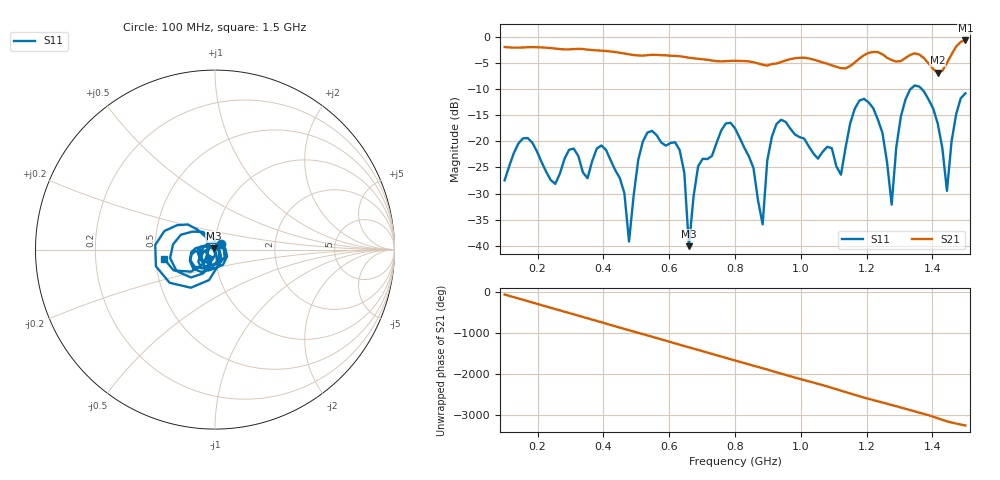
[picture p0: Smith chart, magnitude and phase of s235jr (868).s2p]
! NanoVNA-App
! Date: 2025-09-25 15:10:55
! Start: 100MHz Stop: 1,5GHz Points: 101
! S-Parameter data: F S11 S21 S12 S22
# Hz S RI R 50
!  Frequency  S11_Real  S11_Imag  S21_Real  S21_Imag  S12_Real  S12_Imag  S22_Real  S22_Imag
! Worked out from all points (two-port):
!   101 points, 100 MHz to 1.5 GHz, reference 50 ohm
!   highest |S21| = -0.71 dB at 1.5 GHz (marker M1); lowest = -6.9 dB at 1.416 GHz (marker M2)
!   |S21| within 3 dB of the highest: start of sweep to 627.2 MHz; 1.188 GHz to 1.256 GHz (67.58 MHz wide, 5.53 % of centre) (the widest 2 of 4)
!   lowest |S11| = -40.1 dB at 660 MHz (marker M3), VSWR 1.02, Z = 49.2 + j0.636 ohm
!   |S11| at or under -10 dB: start of sweep to 1.334 GHz; 1.367 GHz to end of sweep
!   S12 and S22 are empty: the file has one direction only
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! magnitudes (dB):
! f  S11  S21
! 100 MHz  -27.5  -2.0
! 156 MHz  -19.4  -2.1
! 338 MHz  -26.0  -2.3
! 408 MHz  -21.6  -2.7
! 478 MHz  -39.2  -3.4
! 520 MHz  -20.0  -3.6
! 576 MHz  -20.2  -3.5
! 632 MHz  -21.7  -3.7
! 660 MHz  -40.1  -4.0
! 688 MHz  -24.8  -4.2
! 800 MHz  -17.5  -4.6
! 884 MHz  -35.9  -5.4
! 926 MHz  -16.7  -5.1
! 1.038 GHz  -22.3  -4.4
! 1.122 GHz  -26.4  -6.0
! 1.192 GHz  -11.9  -3.5
! 1.248 GHz  -18.4  -3.3
! 1.276 GHz  -32.1  -4.5
! 1.332 GHz  -10.1  -3.5
! 1.416 GHz  -16.6  -6.9
! 1.444 GHz  -29.5  -5.0
! 1.5 GHz  -10.8  -0.7
